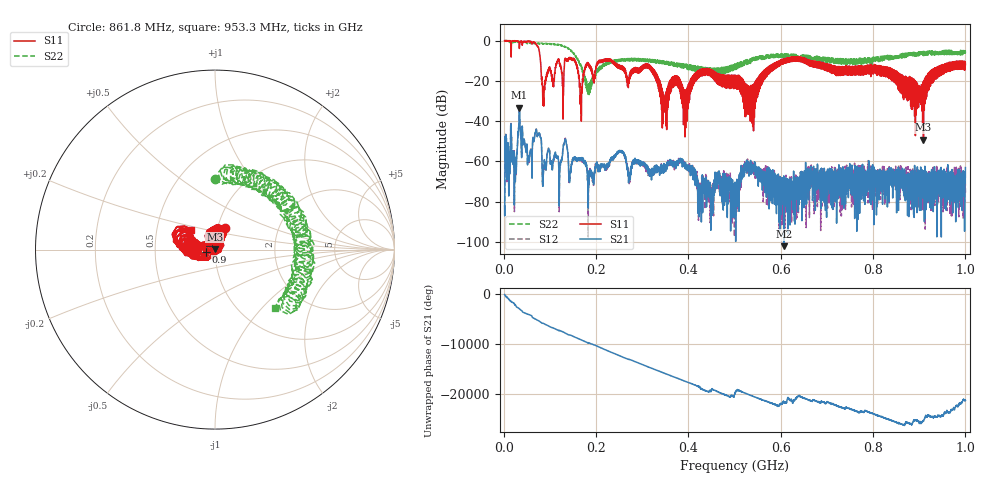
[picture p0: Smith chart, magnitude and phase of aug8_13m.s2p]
!Keysight Technologies N9923A: A.12.45
!Date: Friday, 08 August 2025 17:36:26
!Timezone: (UTC+08:00) Kuala Lumpur, Singapore
!Model: N9923A
!Serial: MY61181427
!GPS Latitude:
!GPS Longitude:
!GPS TimeStamp: 0001-01-01 00:00:00Z
!GPS Seconds Since Last Read: 0
!CHECKSUM:1578916323
!Correction: S11(ON U)S21(ON U)S12(ON U)S22(ON U)
!S2P File: Measurements:S11,S21,S12,S22:
# Hz S DB R 50
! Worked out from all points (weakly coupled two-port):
!   4001 points, 2 MHz to 1 GHz, reference 50 ohm
!   highest |S21| = -33.33 dB at 33.94 MHz (marker M1); lowest = -102.0 dB at 606.5 MHz (marker M2)
!   lowest |S11| = -49.2 dB at 909.2 MHz (marker M3), VSWR 1.01, Z = 49.9 + j0.321 ohm
!   |S11| at or under -10 dB: 155.1 MHz to 206 MHz (50.9 MHz wide, 28.2 % of centre); 234.5 MHz to 597.8 MHz (363.3 MHz wide, 87.3 % of centre); 667.2 MHz to end of sweep (the widest 3 of 69)
!   |S22| runs from -27.4 to 0.0 dB; largest |S21 - S12| = 0.001
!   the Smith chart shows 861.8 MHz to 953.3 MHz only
!   S11 on the Smith chart (normalised r, x): 861.8 MHz: 1.09, +0.27; 900 MHz: 0.90, -0.02; 953.3 MHz: 0.75, +0.17
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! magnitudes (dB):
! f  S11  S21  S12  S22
! 2 MHz  -0.1  -82.0  -79.9  0.0
! 33.94 MHz  -3.9  -33.3  -33.3  -0.6
! 56.39 MHz  -0.5  -56.3  -56.8  -1.3
! 72.11 MHz  -2.3  -46.3  -45.8  -1.3
! 86.83 MHz  -32.6  -62.7  -63.9  -1.8
! 133.2 MHz  -8.9  -48.9  -48.5  -3.1
! 145.2 MHz  -8.5  -62.9  -64.5  -5.1
! 168.4 MHz  -35.9  -59.0  -59.0  -13.3
! 183.6 MHz  -11.5  -73.1  -73.3  -27.4
! 222.6 MHz  -9.2  -62.8  -62.3  -11.1
! 334.8 MHz  -19.5  -64.0  -65.8  -11.2
! 348.3 MHz  -34.3  -63.3  -65.0  -11.8
! 501 MHz  -17.1  -70.3  -79.7  -14.5
! 526 MHz  -26.5  -61.1  -64.0  -11.0
! 606.5 MHz  -9.4  -102.0  -78.7  -6.9
! 667.4 MHz  -10.4  -70.8  -69.2  -8.2
! 833.8 MHz  -17.8  -70.4  -66.1  -8.2
! 861.8 MHz  -17.5  -71.1  -63.2  -8.2
! 900 MHz  -25.8  -77.1  -69.5  -5.7
! 909.2 MHz  -49.2  -71.7  -81.2  -7.5
! 953.3 MHz  -15.2  -71.4  -78.2  -6.6
! 1 GHz  -11.9  -63.0  -75.5  -6.1
